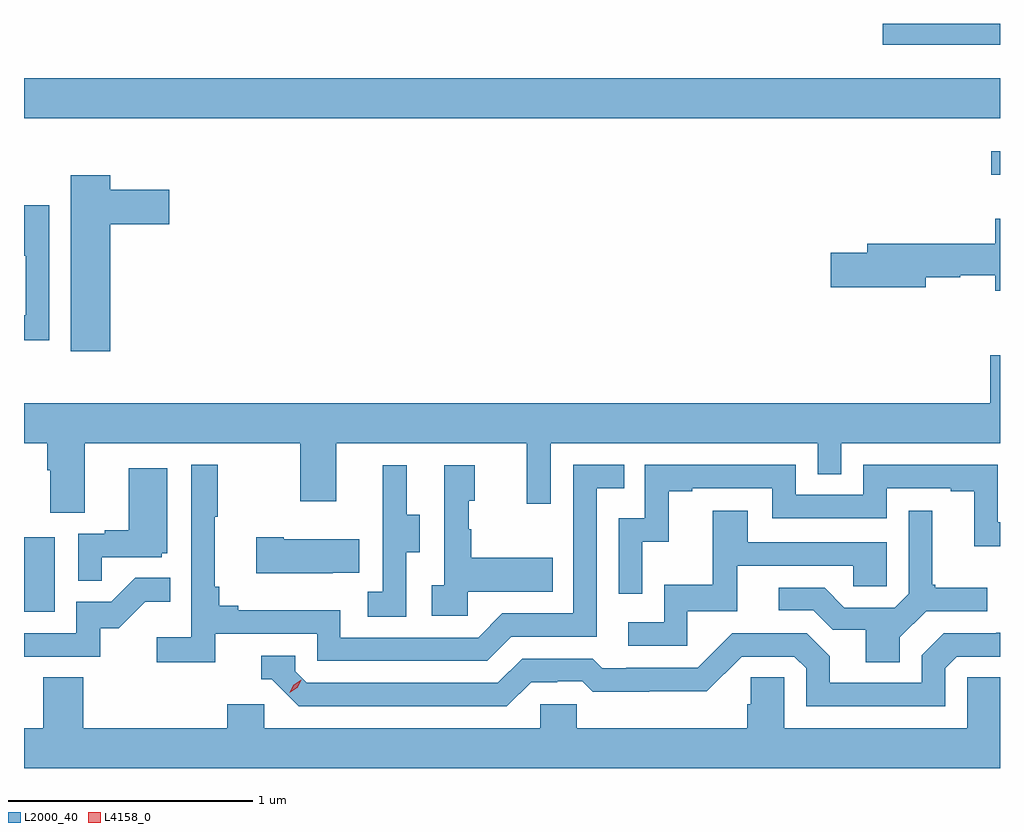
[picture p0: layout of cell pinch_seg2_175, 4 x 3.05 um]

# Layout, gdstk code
import gdstk
lib = gdstk.Library(unit=1e-6, precision=1e-09)
def R(c, l, rs):  # rectangles x0, y0, x1, y1
    for r in rs: c.add(gdstk.rectangle(r[:2], r[2:], *l))
def P(c, l, *ps):  # polygons
    for p in ps: c.add(gdstk.Polygon(p, *l))
L2000_40 = (2000, 40)
L4158_0 = (4158, 0)

pinch_seg2_175 = lib.new_cell('pinch_seg2_175')
R(pinch_seg2_175, L2000_40, [(1079.999,634.956,1080.124,635.263), (1083.963,636.747,1083.999,636.844), (1079.999,636.98,1083.999,637.144), (1083.519,637.28,1083.999,637.366)])
P(pinch_seg2_175, L2000_40, [(1080.352,636.545),(1080.595,636.545),(1080.595,636.687),(1080.352,636.687),(1080.352,636.745),(1080.191,636.745),(1080.191,636.024),(1080.352,636.024)],
  [(1080.102,636.622),(1079.999,636.622),(1079.999,636.416),(1080.006,636.416),(1080.006,636.171),(1079.999,636.171),(1079.999,636.07),(1080.102,636.07)],
  [(1083.999,636.568),(1083.98,636.568),(1083.98,636.464),(1083.455,636.464),(1083.455,636.428),(1083.306,636.428),(1083.306,636.286),(1083.694,636.286),(1083.694,636.328),(1083.837,636.328),(1083.837,636.336),(1083.98,636.336),(1083.98,636.272),(1083.999,636.272)],
  [(1080.247,635.648),(1081.132,635.648),(1081.132,635.409),(1081.279,635.409),(1081.279,635.648),(1082.06,635.648),(1082.06,635.4),(1082.157,635.4),(1082.157,635.648),(1083.252,635.648),(1083.252,635.521),(1083.348,635.521),(1083.348,635.648),(1083.999,635.648),(1083.999,636.007),(1083.959,636.007),(1083.959,635.812),(1079.999,635.812),(1079.999,635.648),(1080.095,635.648),(1080.095,635.536),(1080.107,635.536),(1080.107,635.362),(1080.247,635.362)],
  [(1080.782,634.866),(1081.2,634.866),(1081.2,634.755),(1081.897,634.755),(1081.996,634.854),(1082.346,634.854),(1082.346,635.463),(1082.459,635.463),(1082.459,635.559),(1082.25,635.559),(1082.25,634.95),(1081.959,634.95),(1081.86,634.851),(1081.296,634.851),(1081.296,634.963),(1080.877,634.963),(1080.877,634.982),(1080.8,634.982),(1080.8,635.059),(1080.781,635.059),(1080.781,635.347),(1080.793,635.347),(1080.793,635.56),(1080.684,635.56),(1080.684,634.852),(1080.543,634.852),(1080.543,634.75),(1080.782,634.75)],
  [(1082.532,635.243),(1082.642,635.243),(1082.642,635.451),(1082.737,635.451),(1082.737,635.463),(1083.066,635.463),(1083.066,635.34),(1083.534,635.34),(1083.534,635.463),(1083.797,635.463),(1083.797,635.451),(1083.893,635.451),(1083.893,635.225),(1083.999,635.225),(1083.999,635.323),(1083.99,635.323),(1083.99,635.559),(1083.438,635.559),(1083.438,635.436),(1083.162,635.436),(1083.162,635.559),(1082.544,635.559),(1082.544,635.34),(1082.436,635.34),(1082.436,635.031),(1082.532,635.031)],
  [(1081.818,635.039),(1082.165,635.039),(1082.165,635.179),(1081.831,635.179),(1081.831,635.294),(1081.821,635.294),(1081.821,635.412),(1081.846,635.412),(1081.846,635.557),(1081.722,635.557),(1081.722,635.066),(1081.671,635.066),(1081.671,634.941),(1081.818,634.941)],
  [(1081.566,635.2),(1081.621,635.2),(1081.621,635.355),(1081.567,635.355),(1081.567,635.557),(1081.469,635.557),(1081.469,635.343),(1081.47,635.343),(1081.47,635.039),(1081.407,635.039),(1081.407,634.936),(1081.566,634.936)],
  [(1080.317,635.181),(1080.564,635.181),(1080.564,635.196),(1080.586,635.196),(1080.586,635.545),(1080.428,635.545),(1080.428,635.29),(1080.329,635.29),(1080.329,635.277),(1080.222,635.277),(1080.222,635.083),(1080.317,635.083)],
  [(1083.589,634.852),(1083.696,634.959),(1083.946,634.959),(1083.946,635.056),(1083.733,635.056),(1083.733,635.068),(1083.721,635.068),(1083.721,635.371),(1083.624,635.371),(1083.624,635.031),(1083.567,634.974),(1083.361,634.974),(1083.28,635.055),(1083.093,635.055),(1083.093,634.962),(1083.234,634.962),(1083.314,634.882),(1083.449,634.882),(1083.449,634.75),(1083.589,634.75)],
  [(1082.718,634.959),(1082.923,634.959),(1082.923,635.145),(1083.397,635.145),(1083.397,635.061),(1083.534,635.061),(1083.534,635.241),(1082.965,635.241),(1082.965,635.371),(1082.821,635.371),(1082.821,635.068),(1082.622,635.068),(1082.622,634.914),(1082.475,634.914),(1082.475,634.818),(1082.718,634.818)],
  [(1081.265,635.117),(1081.373,635.117),(1081.373,635.254),(1081.063,635.254),(1081.063,635.262),(1080.951,635.262),(1080.951,635.114),(1081.265,635.114)],
  [(1080.312,634.89),(1080.388,634.89),(1080.495,634.997),(1080.599,634.997),(1080.599,635.096),(1080.455,635.096),(1080.357,634.998),(1080.213,634.998),(1080.213,634.869),(1079.999,634.869),(1079.999,634.773),(1080.312,634.773)],
  [(1082.077,634.668),(1082.184,634.668),(1082.184,634.671),(1082.287,634.671),(1082.329,634.629),(1082.562,634.629),(1082.562,634.631),(1082.798,634.631),(1082.94,634.773),(1083.156,634.773),(1083.204,634.725),(1083.204,634.569),(1083.774,634.569),(1083.774,634.725),(1083.822,634.773),(1083.999,634.773),(1083.999,634.871),(1083.984,634.871),(1083.984,634.869),(1083.768,634.869),(1083.678,634.779),(1083.678,634.665),(1083.301,634.665),(1083.301,634.775),(1083.207,634.869),(1082.901,634.869),(1082.76,634.728),(1082.467,634.728),(1082.467,634.725),(1082.368,634.725),(1082.329,634.764),(1082.04,634.764),(1081.941,634.665),(1081.158,634.665),(1081.11,634.713),(1081.11,634.776),(1080.971,634.776),(1080.971,634.68),(1081.014,634.68),(1081.125,634.569),(1081.978,634.569)],
  [(1083.999,634.688),(1083.864,634.688),(1083.864,634.48),(1083.114,634.48),(1083.114,634.688),(1082.977,634.688),(1082.977,634.578),(1082.963,634.578),(1082.963,634.48),(1082.265,634.48),(1082.265,634.578),(1082.115,634.578),(1082.115,634.48),(1080.984,634.48),(1080.984,634.578),(1080.833,634.578),(1080.833,634.48),(1080.242,634.48),(1080.242,634.688),(1080.077,634.688),(1080.077,634.48),(1079.999,634.48),(1079.999,634.316),(1083.999,634.316)])
P(pinch_seg2_175, L4158_0, [(1081.088,634.625),(1081.088,634.626),(1081.104,634.658),(1081.135,634.678),(1081.135,634.678),(1081.135,634.677),(1081.119,634.645),(1081.089,634.625)])

lib.write_gds('pinch_seg2_175.gds')
